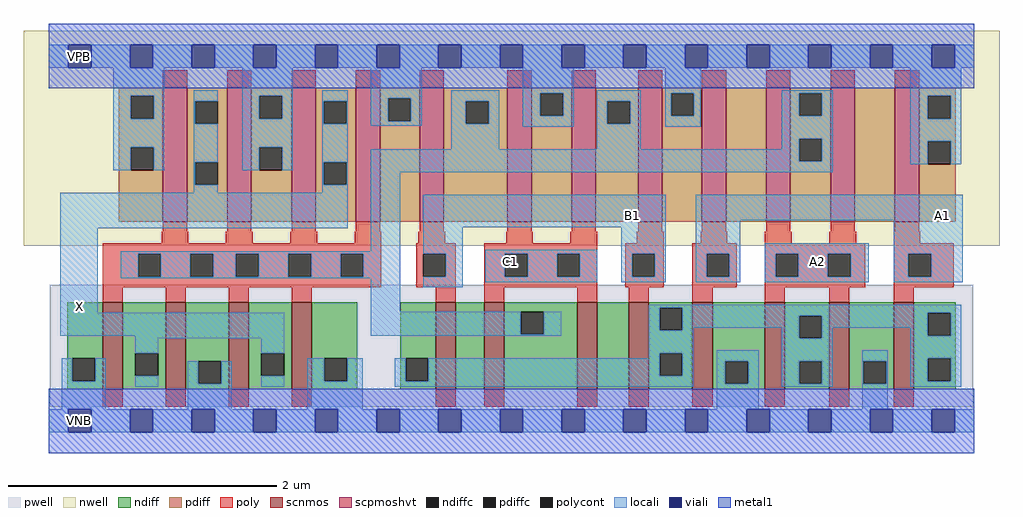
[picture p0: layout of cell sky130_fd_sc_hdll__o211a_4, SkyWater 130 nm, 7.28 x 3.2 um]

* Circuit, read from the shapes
.subckt sky130_fd_sc_hdll__o211a_4 A1 A2 B1 C1 VGND VNB VPB VPWR X
XM1 X n1 VGND VNB sky130_fd_pr__nfet_01v8 w=0.65 l=0.15 m=4
XM2 n2 B1 n3 VNB sky130_fd_pr__nfet_01v8 w=0.65 l=0.15
XM3 n1 C1 n2 VNB sky130_fd_pr__nfet_01v8 w=0.65 l=0.15
XM4 n4 C1 n1 VNB sky130_fd_pr__nfet_01v8 w=0.65 l=0.15
XM5 n3 B1 n4 VNB sky130_fd_pr__nfet_01v8 w=0.65 l=0.15
XM6 VGND A1 n3 VNB sky130_fd_pr__nfet_01v8 w=0.65 l=0.15 m=2
XM7 n3 A2 VGND VNB sky130_fd_pr__nfet_01v8 w=0.65 l=0.15 m=2
XM8 X n1 VPWR VPB sky130_fd_pr__pfet_01v8_hvt w=1 l=0.18 m=4
XM9 n1 B1 VPWR VPB sky130_fd_pr__pfet_01v8_hvt w=1 l=0.18 m=2
XM10 VPWR C1 n1 VPB sky130_fd_pr__pfet_01v8_hvt w=1 l=0.18 m=2
XM11 n5 A1 VPWR VPB sky130_fd_pr__pfet_01v8_hvt w=1 l=0.18
XM12 n1 A2 n5 VPB sky130_fd_pr__pfet_01v8_hvt w=1 l=0.18
XM13 n6 A2 n1 VPB sky130_fd_pr__pfet_01v8_hvt w=1 l=0.18
XM14 VPWR A1 n6 VPB sky130_fd_pr__pfet_01v8_hvt w=1 l=0.18
.ends

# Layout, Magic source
magic
tech sky130A
magscale 1 2
<< nwell >>
rect -38 261 1418 582
<< pwell >>
rect 1 21 1379 203
rect 29 -17 63 21
<< scnmos >>
rect 80 47 110 177
rect 174 47 204 177
rect 268 47 298 177
rect 362 47 392 177
rect 577 47 607 177
rect 649 47 679 177
rect 788 47 818 177
rect 865 47 895 177
rect 960 47 990 177
rect 1068 47 1098 177
rect 1164 47 1194 177
rect 1260 47 1290 177
<< scpmoshvt >>
rect 170 297 206 497
rect 266 297 302 497
rect 362 297 398 497
rect 458 297 494 497
rect 553 297 589 497
rect 684 297 720 497
rect 780 297 816 497
rect 879 297 915 497
rect 974 297 1010 497
rect 1070 297 1106 497
rect 1166 297 1202 497
rect 1262 297 1298 497
<< ndiff >>
rect 27 93 80 177
rect 27 59 35 93
rect 69 59 80 93
rect 27 47 80 59
rect 110 101 174 177
rect 110 67 129 101
rect 163 67 174 101
rect 110 47 174 67
rect 204 89 268 177
rect 204 55 223 89
rect 257 55 268 89
rect 204 47 268 55
rect 298 101 362 177
rect 298 67 317 101
rect 351 67 362 101
rect 298 47 362 67
rect 392 93 460 177
rect 392 59 411 93
rect 445 59 460 93
rect 392 47 460 59
rect 524 93 577 177
rect 524 59 532 93
rect 566 59 577 93
rect 524 47 577 59
rect 607 47 649 177
rect 679 163 788 177
rect 679 129 704 163
rect 738 129 788 163
rect 679 47 788 129
rect 818 47 865 177
rect 895 169 960 177
rect 895 135 911 169
rect 945 135 960 169
rect 895 101 960 135
rect 895 67 911 101
rect 945 67 960 101
rect 895 47 960 67
rect 990 89 1068 177
rect 990 55 1009 89
rect 1043 55 1068 89
rect 990 47 1068 55
rect 1098 157 1164 177
rect 1098 123 1119 157
rect 1153 123 1164 157
rect 1098 89 1164 123
rect 1098 55 1119 89
rect 1153 55 1164 89
rect 1098 47 1164 55
rect 1194 89 1260 177
rect 1194 55 1215 89
rect 1249 55 1260 89
rect 1194 47 1260 55
rect 1290 161 1353 177
rect 1290 127 1311 161
rect 1345 127 1353 161
rect 1290 93 1353 127
rect 1290 59 1311 93
rect 1345 59 1353 93
rect 1290 47 1353 59
<< pdiff >>
rect 104 485 170 497
rect 104 451 122 485
rect 156 451 170 485
rect 104 408 170 451
rect 104 374 122 408
rect 156 374 170 408
rect 104 297 170 374
rect 206 477 266 497
rect 206 443 218 477
rect 252 443 266 477
rect 206 386 266 443
rect 206 352 218 386
rect 252 352 266 386
rect 206 297 266 352
rect 302 485 362 497
rect 302 451 314 485
rect 348 451 362 485
rect 302 408 362 451
rect 302 374 314 408
rect 348 374 362 408
rect 302 297 362 374
rect 398 477 458 497
rect 398 443 410 477
rect 444 443 458 477
rect 398 386 458 443
rect 398 352 410 386
rect 444 352 458 386
rect 398 297 458 352
rect 494 481 553 497
rect 494 447 506 481
rect 540 447 553 481
rect 494 297 553 447
rect 589 477 684 497
rect 589 443 622 477
rect 656 443 684 477
rect 589 297 684 443
rect 720 489 780 497
rect 720 455 733 489
rect 767 455 780 489
rect 720 297 780 455
rect 816 477 879 497
rect 816 443 833 477
rect 867 443 879 477
rect 816 297 879 443
rect 915 489 974 497
rect 915 455 928 489
rect 962 455 974 489
rect 915 297 974 455
rect 1010 297 1070 497
rect 1106 489 1166 497
rect 1106 455 1119 489
rect 1153 455 1166 489
rect 1106 421 1166 455
rect 1106 387 1119 421
rect 1153 387 1166 421
rect 1106 297 1166 387
rect 1202 297 1262 497
rect 1298 485 1353 497
rect 1298 451 1311 485
rect 1345 451 1353 485
rect 1298 417 1353 451
rect 1298 383 1311 417
rect 1345 383 1353 417
rect 1298 297 1353 383
<< ndiffc >>
rect 35 59 69 93
rect 129 67 163 101
rect 223 55 257 89
rect 317 67 351 101
rect 411 59 445 93
rect 532 59 566 93
rect 704 129 738 163
rect 911 135 945 169
rect 911 67 945 101
rect 1009 55 1043 89
rect 1119 123 1153 157
rect 1119 55 1153 89
rect 1215 55 1249 89
rect 1311 127 1345 161
rect 1311 59 1345 93
<< pdiffc >>
rect 122 451 156 485
rect 122 374 156 408
rect 218 443 252 477
rect 218 352 252 386
rect 314 451 348 485
rect 314 374 348 408
rect 410 443 444 477
rect 410 352 444 386
rect 506 447 540 481
rect 622 443 656 477
rect 733 455 767 489
rect 833 443 867 477
rect 928 455 962 489
rect 1119 455 1153 489
rect 1119 387 1153 421
rect 1311 451 1345 485
rect 1311 383 1345 417
<< poly >>
rect 170 497 206 523
rect 266 497 302 523
rect 362 497 398 523
rect 458 497 494 523
rect 553 497 589 523
rect 684 497 720 523
rect 780 497 816 523
rect 879 497 915 523
rect 974 497 1010 523
rect 1070 497 1106 523
rect 1166 497 1202 523
rect 1262 497 1298 523
rect 170 282 206 297
rect 266 282 302 297
rect 362 282 398 297
rect 458 282 494 297
rect 553 282 589 297
rect 684 282 720 297
rect 780 282 816 297
rect 879 282 915 297
rect 974 282 1010 297
rect 1070 282 1106 297
rect 1166 282 1202 297
rect 1262 282 1298 297
rect 168 265 208 282
rect 264 265 304 282
rect 360 265 400 282
rect 456 265 496 282
rect 551 265 591 282
rect 682 265 722 282
rect 778 265 818 282
rect 877 265 917 282
rect 972 265 1012 282
rect 1068 265 1108 282
rect 1164 265 1204 282
rect 1260 265 1300 282
rect 80 249 496 265
rect 80 215 133 249
rect 167 215 211 249
rect 245 215 279 249
rect 313 215 357 249
rect 391 215 435 249
rect 469 215 496 249
rect 80 199 496 215
rect 548 249 607 265
rect 548 215 558 249
rect 592 215 607 249
rect 548 199 607 215
rect 80 177 110 199
rect 174 177 204 199
rect 268 177 298 199
rect 362 177 392 199
rect 577 177 607 199
rect 649 249 818 265
rect 649 215 680 249
rect 714 215 758 249
rect 792 215 818 249
rect 649 199 818 215
rect 860 249 917 265
rect 860 215 870 249
rect 904 215 917 249
rect 860 199 917 215
rect 960 249 1026 265
rect 960 215 981 249
rect 1015 215 1026 249
rect 960 199 1026 215
rect 1068 249 1218 265
rect 1068 215 1084 249
rect 1118 215 1162 249
rect 1196 215 1218 249
rect 1068 199 1218 215
rect 1260 249 1350 265
rect 1260 215 1282 249
rect 1316 215 1350 249
rect 1260 199 1350 215
rect 649 177 679 199
rect 788 177 818 199
rect 865 177 895 199
rect 960 177 990 199
rect 1068 177 1098 199
rect 1164 177 1194 199
rect 1260 177 1290 199
rect 80 21 110 47
rect 174 21 204 47
rect 268 21 298 47
rect 362 21 392 47
rect 577 21 607 47
rect 649 21 679 47
rect 788 21 818 47
rect 865 21 895 47
rect 960 21 990 47
rect 1068 21 1098 47
rect 1164 21 1194 47
rect 1260 21 1290 47
<< polycont >>
rect 133 215 167 249
rect 211 215 245 249
rect 279 215 313 249
rect 357 215 391 249
rect 435 215 469 249
rect 558 215 592 249
rect 680 215 714 249
rect 758 215 792 249
rect 870 215 904 249
rect 981 215 1015 249
rect 1084 215 1118 249
rect 1162 215 1196 249
rect 1282 215 1316 249
<< locali >>
rect 0 527 29 561
rect 63 527 121 561
rect 155 527 213 561
rect 247 527 305 561
rect 339 527 397 561
rect 431 527 489 561
rect 523 527 581 561
rect 615 527 673 561
rect 707 527 765 561
rect 799 527 857 561
rect 891 527 949 561
rect 983 527 1041 561
rect 1075 527 1133 561
rect 1167 527 1225 561
rect 1259 527 1317 561
rect 1351 527 1380 561
rect 96 485 172 527
rect 96 451 122 485
rect 156 451 172 485
rect 96 408 172 451
rect 96 374 122 408
rect 156 374 172 408
rect 216 477 252 493
rect 216 443 218 477
rect 216 386 252 443
rect 216 352 218 386
rect 288 485 364 527
rect 288 451 314 485
rect 348 451 364 485
rect 288 408 364 451
rect 288 374 314 408
rect 348 374 364 408
rect 408 477 446 493
rect 408 443 410 477
rect 444 443 446 477
rect 408 386 446 443
rect 480 481 556 527
rect 480 447 506 481
rect 540 447 556 481
rect 480 440 556 447
rect 600 477 672 493
rect 600 443 622 477
rect 656 443 672 477
rect 600 405 672 443
rect 707 489 783 527
rect 707 455 733 489
rect 767 455 783 489
rect 707 439 783 455
rect 817 477 883 493
rect 817 443 833 477
rect 867 443 883 477
rect 817 405 883 443
rect 919 489 972 527
rect 919 455 928 489
rect 962 455 972 489
rect 919 439 972 455
rect 1093 489 1169 493
rect 1093 455 1119 489
rect 1153 455 1169 489
rect 1093 421 1169 455
rect 1093 405 1119 421
rect 216 340 252 352
rect 408 352 410 386
rect 444 352 446 386
rect 408 340 446 352
rect 17 287 446 340
rect 480 387 1119 405
rect 1153 387 1169 421
rect 480 371 1169 387
rect 1285 485 1361 527
rect 1285 451 1311 485
rect 1345 451 1361 485
rect 1285 417 1361 451
rect 1285 383 1311 417
rect 1345 383 1361 417
rect 17 161 73 287
rect 480 253 524 371
rect 107 249 524 253
rect 107 215 133 249
rect 167 215 211 249
rect 245 215 279 249
rect 313 215 357 249
rect 391 215 435 249
rect 469 215 524 249
rect 107 213 524 215
rect 480 163 524 213
rect 558 289 920 337
rect 558 249 617 289
rect 592 215 617 249
rect 558 199 617 215
rect 651 249 818 255
rect 651 215 680 249
rect 714 215 758 249
rect 792 215 818 249
rect 651 207 818 215
rect 854 249 920 289
rect 854 215 870 249
rect 904 215 920 249
rect 854 207 920 215
rect 965 299 1363 337
rect 965 249 1031 299
rect 965 215 981 249
rect 1015 215 1031 249
rect 965 207 1031 215
rect 1068 249 1223 265
rect 1068 215 1084 249
rect 1118 215 1162 249
rect 1196 215 1223 249
rect 1068 207 1223 215
rect 1260 249 1363 299
rect 1260 215 1282 249
rect 1316 215 1363 249
rect 1260 207 1363 215
rect 895 169 1361 173
rect 17 127 351 161
rect 480 129 704 163
rect 738 129 764 163
rect 480 127 764 129
rect 895 135 911 169
rect 945 161 1361 169
rect 945 157 1311 161
rect 945 139 1119 157
rect 945 135 961 139
rect 129 123 351 127
rect 129 101 163 123
rect 19 59 35 93
rect 69 59 85 93
rect 19 17 85 59
rect 317 101 351 123
rect 129 51 163 67
rect 207 55 223 89
rect 257 55 273 89
rect 207 17 273 55
rect 895 101 961 135
rect 1093 123 1119 139
rect 1153 139 1311 157
rect 1153 123 1169 139
rect 895 93 911 101
rect 317 51 351 67
rect 385 59 411 93
rect 445 59 468 93
rect 385 17 468 59
rect 516 59 532 93
rect 566 67 911 93
rect 945 67 961 101
rect 566 59 961 67
rect 516 51 961 59
rect 996 89 1059 105
rect 996 55 1009 89
rect 1043 55 1059 89
rect 996 17 1059 55
rect 1093 89 1169 123
rect 1285 127 1311 139
rect 1345 127 1361 161
rect 1093 55 1119 89
rect 1153 55 1169 89
rect 1093 51 1169 55
rect 1213 89 1251 105
rect 1213 55 1215 89
rect 1249 55 1251 89
rect 1213 17 1251 55
rect 1285 93 1361 127
rect 1285 59 1311 93
rect 1345 59 1361 93
rect 1285 51 1361 59
rect 0 -17 29 17
rect 63 -17 121 17
rect 155 -17 213 17
rect 247 -17 305 17
rect 339 -17 397 17
rect 431 -17 489 17
rect 523 -17 581 17
rect 615 -17 673 17
rect 707 -17 765 17
rect 799 -17 857 17
rect 891 -17 949 17
rect 983 -17 1041 17
rect 1075 -17 1133 17
rect 1167 -17 1225 17
rect 1259 -17 1317 17
rect 1351 -17 1380 17
<< viali >>
rect 29 527 63 561
rect 121 527 155 561
rect 213 527 247 561
rect 305 527 339 561
rect 397 527 431 561
rect 489 527 523 561
rect 581 527 615 561
rect 673 527 707 561
rect 765 527 799 561
rect 857 527 891 561
rect 949 527 983 561
rect 1041 527 1075 561
rect 1133 527 1167 561
rect 1225 527 1259 561
rect 1317 527 1351 561
rect 29 -17 63 17
rect 121 -17 155 17
rect 213 -17 247 17
rect 305 -17 339 17
rect 397 -17 431 17
rect 489 -17 523 17
rect 581 -17 615 17
rect 673 -17 707 17
rect 765 -17 799 17
rect 857 -17 891 17
rect 949 -17 983 17
rect 1041 -17 1075 17
rect 1133 -17 1167 17
rect 1225 -17 1259 17
rect 1317 -17 1351 17
<< metal1 >>
rect 0 561 1380 592
rect 0 527 29 561
rect 63 527 121 561
rect 155 527 213 561
rect 247 527 305 561
rect 339 527 397 561
rect 431 527 489 561
rect 523 527 581 561
rect 615 527 673 561
rect 707 527 765 561
rect 799 527 857 561
rect 891 527 949 561
rect 983 527 1041 561
rect 1075 527 1133 561
rect 1167 527 1225 561
rect 1259 527 1317 561
rect 1351 527 1380 561
rect 0 496 1380 527
rect 0 17 1380 48
rect 0 -17 29 17
rect 63 -17 121 17
rect 155 -17 213 17
rect 247 -17 305 17
rect 339 -17 397 17
rect 431 -17 489 17
rect 523 -17 581 17
rect 615 -17 673 17
rect 707 -17 765 17
rect 799 -17 857 17
rect 891 -17 949 17
rect 983 -17 1041 17
rect 1075 -17 1133 17
rect 1167 -17 1225 17
rect 1259 -17 1317 17
rect 1351 -17 1380 17
rect 0 -48 1380 -17
<< labels >>
flabel locali s 1316 289 1350 323 0 FreeSans 340 0 0 0 A1
port 1 nsew signal input
flabel locali s 29 153 63 187 0 FreeSans 340 0 0 0 X
port 9 nsew signal output
flabel locali s 671 221 705 255 0 FreeSans 340 0 0 0 C1
port 4 nsew signal input
flabel locali s 1129 221 1163 255 0 FreeSans 340 0 0 0 A2
port 2 nsew signal input
flabel locali s 854 289 888 323 0 FreeSans 340 0 0 0 B1
port 3 nsew signal input
flabel pwell s 29 -17 63 17 0 FreeSans 200 0 0 0 VNB
port 6 nsew ground bidirectional
flabel nwell s 29 527 63 561 0 FreeSans 200 0 0 0 VPB
port 7 nsew power bidirectional
flabel metal1 s 29 -17 63 17 0 FreeSans 200 0 0 0 VGND
port 5 nsew ground bidirectional
flabel metal1 s 29 527 63 561 0 FreeSans 200 0 0 0 VPWR
port 8 nsew power bidirectional
rlabel comment s 0 0 0 0 4 o211a_4
<< properties >>
string LEFsite unithd
string LEFclass CORE
string FIXED_BBOX 0 0 1380 544
string GDS_FILE $PDKPATH/libs.ref/sky130_fd_sc_hdll/gds/sky130_fd_sc_hdll.gds
string LEFsymmetry X Y R90
string GDS_END 1050916
string GDS_START 1041376
string LEFproperties maskLayoutSubType "abstract" prCellType "standard" originalViewName "layout"
<< end >>
